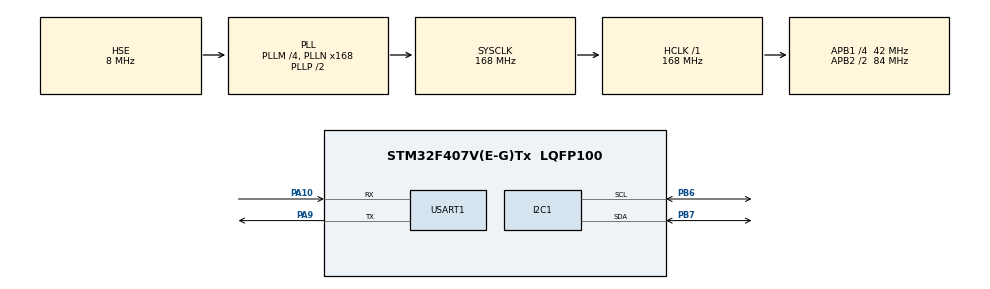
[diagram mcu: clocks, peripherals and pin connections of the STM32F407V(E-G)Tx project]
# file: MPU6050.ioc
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Dma.Request0=USART1_RX
Dma.USART1_RX.0.Direction=DMA_PERIPH_TO_MEMORY
Dma.USART1_RX.0.FIFOMode=DMA_FIFOMODE_DISABLE
Dma.USART1_RX.0.Instance=DMA2_Stream2
Dma.USART1_RX.0.MemDataAlignment=DMA_MDATAALIGN_BYTE
Dma.USART1_RX.0.MemInc=DMA_MINC_ENABLE
Dma.USART1_RX.0.Mode=DMA_CIRCULAR
Dma.USART1_RX.0.PeriphDataAlignment=DMA_PDATAALIGN_BYTE
Dma.USART1_RX.0.PeriphInc=DMA_PINC_DISABLE
Dma.USART1_RX.0.Priority=DMA_PRIORITY_LOW
I2C1.I2C_Mode=I2C_Fast
Mcu.Family=STM32F4
Mcu.Name=STM32F407V(E-G)Tx
Mcu.Package=LQFP100
NVIC.DMA2_Stream2_IRQn=true\:0\:0\:false\:false\:true\:false\:true
NVIC.PriorityGroup=NVIC_PRIORITYGROUP_4
NVIC.USART1_IRQn=true\:0\:0\:false\:false\:true\:true\:true
PA10.Mode=Asynchronous
PA10.Signal=USART1_RX
PA13.Mode=Serial_Wire
PA13.Signal=SYS_JTMS-SWDIO
PA14.Mode=Serial_Wire
PA14.Signal=SYS_JTCK-SWCLK
PA9.Mode=Asynchronous
PA9.Signal=USART1_TX
PB6.Mode=I2C
PB6.Signal=I2C1_SCL
PB7.Mode=I2C
PB7.Signal=I2C1_SDA
PH0-OSC_IN.Mode=HSE-External-Oscillator
PH0-OSC_IN.Signal=RCC_OSC_IN
PH1-OSC_OUT.Mode=HSE-External-Oscillator
PH1-OSC_OUT.Signal=RCC_OSC_OUT
ProjectManager.HeapSize=0x200
ProjectManager.StackSize=0x400
ProjectManager.TargetToolchain=STM32CubeIDE
RCC.48MHZClocksFreq_Value=84000000
RCC.AHBFreq_Value=168000000
RCC.APB1CLKDivider=RCC_HCLK_DIV4
RCC.APB1Freq_Value=42000000
RCC.APB1TimFreq_Value=84000000
RCC.APB2CLKDivider=RCC_HCLK_DIV2
RCC.APB2Freq_Value=84000000
RCC.APB2TimFreq_Value=168000000
RCC.CortexFreq_Value=168000000
RCC.HCLKFreq_Value=168000000
RCC.HSE_VALUE=8000000
RCC.HSI_VALUE=16000000
RCC.LSE_VALUE=32768
RCC.PLLM=4
RCC.PLLN=168
RCC.PLLSourceVirtual=RCC_PLLSOURCE_HSE
RCC.SYSCLKFreq_VALUE=168000000
RCC.SYSCLKSource=RCC_SYSCLKSOURCE_PLLCLK
RCC.VCOOutputFreq_Value=336000000
USART1.VirtualMode=VM_ASYNC
board=custom

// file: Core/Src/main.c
/* USER CODE BEGIN Header */
/**
  ******************************************************************************
  * @file           : main.c
  * @brief          : Main program body
  ******************************************************************************
  * @attention
  *
  * Copyright (c) 2022 STMicroelectronics.
  * All rights reserved.
  *
  * This software is licensed under terms that can be found in the LICENSE file
  * in the root directory of this software component.
  * If no LICENSE file comes with this software, it is provided AS-IS.
  *
  ******************************************************************************
  */
/* USER CODE END Header */
#include "main.h"

/* USER CODE BEGIN Includes */
#include "AT_Esp8266.h"
#include "TJ_MPU6050.h"
#include "stdio.h"
#include "string.h"
/* USER CODE END Includes */

/* USER CODE BEGIN PTD */
extern RawData_Def Accel;
extern RawData_Def Gyro;
extern float accel_reg_bias[3];
extern float gyr_reg_bias[3];
extern float accelScalingFactor, gyroScalingFactor;

#define BUFFER_SIZE 100
char request[BUFFER_SIZE];
char txdata[BUFFER_SIZE];
char inCommand[6] = {0};
char *myssid = "wifi_ID";
char *mypass = "wifi_Pass";
char *serverIP = "192.168.1.100";
uint16_t serverPort = 80;
/* USER CODE END PTD */

/* USER CODE BEGIN PM */
void UARTRxComplete(void);
/* USER CODE END PM */

I2C_HandleTypeDef hi2c1;

UART_HandleTypeDef huart1;
DMA_HandleTypeDef hdma_usart1_rx;

void SystemClock_Config(void);
static void MX_GPIO_Init(void);
static void MX_I2C1_Init(void);
static void MX_DMA_Init(void);
static void MX_USART1_UART_Init(void);

/* USER CODE BEGIN 0 */
uint8_t rxRing[2*BUFFER_SIZE];
uint16_t rxLastPos = 0, rxThisPos = 0;

void HAL_UART_RxCpltCallback(UART_HandleTypeDef *huart)
{
	if(huart->Instance == USART1)
	{
		if (__HAL_UART_GET_FLAG (&huart1, UART_FLAG_IDLE))
		{
			UARTRxComplete();
		}
	}
}

void UARTRxComplete(void) {
  uint16_t len;
  rxThisPos = sizeof(rxRing) - __HAL_DMA_GET_COUNTER(&hdma_usart1_rx); //get current write pointer
  if(rxThisPos > rxLastPos)
  {
	  len = rxThisPos - rxLastPos; //calculate how far the DMA write pointer has moved
	  memcpy(request, (rxRing + rxLastPos), len);
  }
  else
  {
	  len = sizeof(rxRing) - rxLastPos;
	  memcpy(request, (rxRing + rxLastPos), len);
	  memcpy((request +  len), rxRing, rxThisPos);

  }
  memcpy(inCommand, request, sizeof(inCommand));
  rxLastPos = rxThisPos;
}

void UARTRXInit(void) {
  __HAL_UART_ENABLE_IT(&huart1, UART_IT_IDLE);   // enable idle line interrupt
  hdma_usart1_rx.Instance->CR &= ~DMA_SxCR_HTIE;  // disable uart half tx interrupt
  HAL_UART_Receive_DMA(&huart1, rxRing, 2*BUFFER_SIZE);
}
/* USER CODE END 0 */

int main(void)
{
  /* USER CODE BEGIN 1 */
  MPU_ConfigTypeDef myMpuConfig;
  /* USER CODE END 1 */

  /* MCU Configuration--------------------------------------------------------*/

  /* Reset of all peripherals, Initializes the Flash interface and the Systick. */
  HAL_Init();

  /* Configure the system clock */
  SystemClock_Config();

  /* Initialize all configured peripherals */
  MX_GPIO_Init();
  MX_I2C1_Init();
  MX_DMA_Init();
  MX_USART1_UART_Init();
  /* USER CODE BEGIN 2 */
  //1. Initialise the MPU6050 module and I2C
  MPU6050_Init(&hi2c1, &myMpuConfig);
  //2. Configure Accel and Gyro parameters
  myMpuConfig.Accel_Full_Scale = AFS_SEL_2g;
  myMpuConfig.ClockSource = Internal_8MHz;
  myMpuConfig.CONFIG_DLPF = DLPF_184A_188G_Hz;
  myMpuConfig.Gyro_Full_Scale = FS_SEL_500;
  myMpuConfig.Sleep_Mode_Bit = 0;  //1: sleep mode, 0: normal mode
  MPU6050_Config();
  //3. Calibrate MPU6050
  Soft_GetOffset();
  //4. Set communication to server
  UARTRXInit();
  ESP_Init(&huart1, STA_AP, (uint8_t*)request, BUFFER_SIZE);
  HAL_StatusTypeDef state = ESP_CheckWifiConnect();
  while(state != HAL_OK)
  {
	  if(state == HAL_ERROR)
	  {
		  ESP_WifiConnect(myssid,mypass);
		  break;
	  }
	  state = ESP_CheckWifiConnect();
  }
  ESP_TCP_CreateTransparentMode(serverIP, serverPort);
  memset(inCommand,0,sizeof(inCommand));
  /* USER CODE END 2 */

  /* Infinite loop */
  /* USER CODE BEGIN WHILE */
  while (1)
  {
	  int a[3] = {0}, g[3] = {0};
	  float ax,ay,az,gx,gy,gz;
	  if(ReadI2C_MPU() == HAL_OK)
	  {
		  a[0] = Accel.x;
		  a[1] = Accel.y;
		  a[2] = Accel.z;
		  g[0] = Gyro.x;
		  g[1] = Gyro.y;
		  g[2] = Gyro.z;
		  ax = (a[0] + accel_reg_bias[0])*accelScalingFactor; ay = (a[1] + accel_reg_bias[1])*accelScalingFactor;
		  az = (a[2] + accel_reg_bias[2])*accelScalingFactor;
		  gx = (g[0] + gyr_reg_bias[0])*gyroScalingFactor; gy = (g[1] + gyr_reg_bias[1])*gyroScalingFactor;
		  gz = (g[2] + gyr_reg_bias[2])*gyroScalingFactor;
		  sprintf(txdata,"!%.3f,%.3f,%.3f,%.3f,%.3f,%.3f\r\n",ax,ay,az,gx,gy,gz);
		  ESP_TransparentSend(txdata);
		  HAL_Delay(5);
	  }
    /* USER CODE END WHILE */

  }
}

void SystemClock_Config(void)
{
  RCC_OscInitTypeDef RCC_OscInitStruct = {0};
  RCC_ClkInitTypeDef RCC_ClkInitStruct = {0};

  /** Configure the main internal regulator output voltage
  */
  __HAL_RCC_PWR_CLK_ENABLE();
  __HAL_PWR_VOLTAGESCALING_CONFIG(PWR_REGULATOR_VOLTAGE_SCALE1);
  /** Initializes the RCC Oscillators according to the specified parameters
  * in the RCC_OscInitTypeDef structure.
  */
  RCC_OscInitStruct.OscillatorType = RCC_OSCILLATORTYPE_HSE;
  RCC_OscInitStruct.HSEState = RCC_HSE_ON;
  RCC_OscInitStruct.PLL.PLLState = RCC_PLL_ON;
  RCC_OscInitStruct.PLL.PLLSource = RCC_PLLSOURCE_HSE;
  RCC_OscInitStruct.PLL.PLLM = 4;
  RCC_OscInitStruct.PLL.PLLN = 168;
  RCC_OscInitStruct.PLL.PLLP = RCC_PLLP_DIV2;
  RCC_OscInitStruct.PLL.PLLQ = 4;
  if (HAL_RCC_OscConfig(&RCC_OscInitStruct) != HAL_OK)
  {
    Error_Handler();
  }
  /** Initializes the CPU, AHB and APB buses clocks
  */
  RCC_ClkInitStruct.ClockType = RCC_CLOCKTYPE_HCLK|RCC_CLOCKTYPE_SYSCLK
                              |RCC_CLOCKTYPE_PCLK1|RCC_CLOCKTYPE_PCLK2;
  RCC_ClkInitStruct.SYSCLKSource = RCC_SYSCLKSOURCE_PLLCLK;
  RCC_ClkInitStruct.AHBCLKDivider = RCC_SYSCLK_DIV1;
  RCC_ClkInitStruct.APB1CLKDivider = RCC_HCLK_DIV4;
  RCC_ClkInitStruct.APB2CLKDivider = RCC_HCLK_DIV2;

  if (HAL_RCC_ClockConfig(&RCC_ClkInitStruct, FLASH_LATENCY_5) != HAL_OK)
  {
    Error_Handler();
  }
}

static void MX_I2C1_Init(void)
{

  hi2c1.Instance = I2C1;
  hi2c1.Init.ClockSpeed = 400000;
  hi2c1.Init.DutyCycle = I2C_DUTYCYCLE_2;
  hi2c1.Init.OwnAddress1 = 0;
  hi2c1.Init.AddressingMode = I2C_ADDRESSINGMODE_7BIT;
  hi2c1.Init.DualAddressMode = I2C_DUALADDRESS_DISABLE;
  hi2c1.Init.OwnAddress2 = 0;
  hi2c1.Init.GeneralCallMode = I2C_GENERALCALL_DISABLE;
  hi2c1.Init.NoStretchMode = I2C_NOSTRETCH_DISABLE;
  if (HAL_I2C_Init(&hi2c1) != HAL_OK)
  {
    Error_Handler();
  }

}

static void MX_USART1_UART_Init(void)
{

  huart1.Instance = USART1;
  huart1.Init.BaudRate = 115200;
  huart1.Init.WordLength = UART_WORDLENGTH_8B;
  huart1.Init.StopBits = UART_STOPBITS_1;
  huart1.Init.Parity = UART_PARITY_NONE;
  huart1.Init.Mode = UART_MODE_TX_RX;
  huart1.Init.HwFlowCtl = UART_HWCONTROL_NONE;
  huart1.Init.OverSampling = UART_OVERSAMPLING_16;
  if (HAL_UART_Init(&huart1) != HAL_OK)
  {
    Error_Handler();
  }

}

static void MX_DMA_Init(void)
{

  /* DMA controller clock enable */
  __HAL_RCC_DMA2_CLK_ENABLE();

  /* DMA interrupt init */
  /* DMA2_Stream2_IRQn interrupt configuration */
  HAL_NVIC_SetPriority(DMA2_Stream2_IRQn, 0, 0);
  HAL_NVIC_EnableIRQ(DMA2_Stream2_IRQn);

}

static void MX_GPIO_Init(void)
{

  /* GPIO Ports Clock Enable */
  __HAL_RCC_GPIOH_CLK_ENABLE();
  __HAL_RCC_GPIOA_CLK_ENABLE();
  __HAL_RCC_GPIOB_CLK_ENABLE();

}

void Error_Handler(void)
{
  __disable_irq();
  while (1)
  {
  }
}
